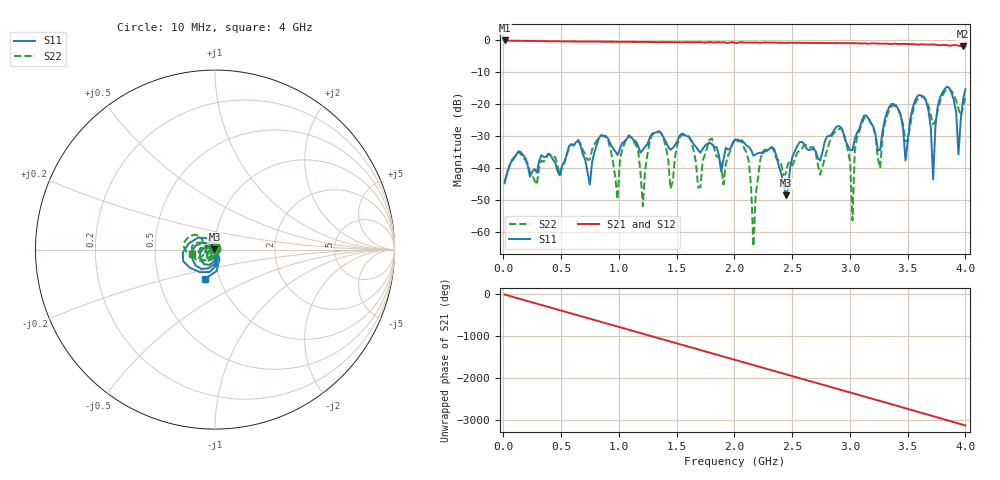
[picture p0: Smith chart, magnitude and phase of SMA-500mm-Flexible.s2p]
! 9/28/2016 3:35:16 PM
! C:\USERS\ANRITSUUSER\DESKTOP\SWITCHES\SMA-500MM-FLEXIBLE.S2P
! CHANNEL.1
! TR.MEASUREMENT
! CORRECTED.DATA
# GHZ S RI R 50.0
! FREQ.GHZ  S11RE  S11IM  S21RE  S21IM  S12RE  S12IM  S22RE  S22IM
!; PortSelection: Port_12
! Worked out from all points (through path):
!   201 points, 10 MHz to 4 GHz, reference 50 ohm
!   highest |S21| = -0.04 dB at 10 MHz (marker M1); lowest = -1.9 dB at 3.98 GHz (marker M2)
!   group delay of S21, straight-line fit = 2.17 ns
!   lowest |S11| = -48.5 dB at 2.444 GHz (marker M3), VSWR 1.01, Z = 49.7 + j0.205 ohm
!   |S11| at or under -10 dB: start of sweep to end of sweep
!   |S22| runs from -64.4 to -15.1 dB; largest |S21 - S12| = 0.024
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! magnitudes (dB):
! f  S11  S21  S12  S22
! 10 MHz  -44.8  0.0  -0.1  -44.0
! 688.3 MHz  -35.8  -0.4  -0.4  -34.4
! 987.5 MHz  -35.9  -0.5  -0.5  -49.7
! 1.087 GHz  -30.1  -0.5  -0.5  -29.7
! 1.207 GHz  -34.4  -0.5  -0.5  -51.9
! 1.347 GHz  -28.5  -0.6  -0.6  -28.5
! 2.005 GHz  -31.0  -0.8  -0.7  -31.0
! 2.125 GHz  -33.4  -0.7  -0.7  -37.9
! 2.165 GHz  -36.1  -0.7  -0.8  -64.4
! 2.244 GHz  -35.4  -0.7  -0.8  -34.9
! 2.444 GHz  -48.5  -0.8  -0.8  -41.8
! 2.683 GHz  -34.0  -0.8  -0.8  -33.4
! 2.943 GHz  -28.9  -0.9  -0.9  -28.6
! 3.022 GHz  -34.4  -0.9  -1.0  -56.4
! 3.062 GHz  -28.9  -0.9  -1.0  -30.2
! 3.342 GHz  -20.8  -1.2  -1.2  -21.8
! 3.481 GHz  -37.6  -1.1  -1.1  -31.5
! 3.641 GHz  -17.8  -1.3  -1.3  -17.8
! 3.721 GHz  -43.5  -1.3  -1.4  -26.3
! 3.781 GHz  -17.8  -1.5  -1.6  -19.2
! 3.98 GHz  -18.4  -1.9  -2.0  -21.1
! 4 GHz  -15.3  -1.9  -2.2  -17.6
